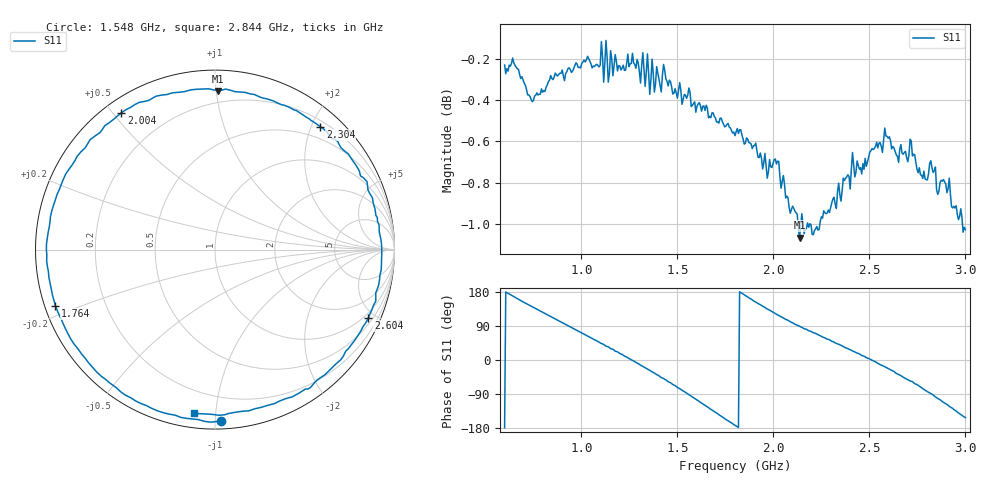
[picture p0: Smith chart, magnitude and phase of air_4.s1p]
! nanovna_capture.py 2026-10-18T19:32:49+0900
! NanoVNA-F_V2 fw 0.6.0 SN 4A3639384505514B
! cal: load open short cal'ed  over 600000000-3000000000 Hz, 201 points
! points 401, avg 4
! free air, >=10 cm, capture 4 (drift check after ref_A_4)
# HZ S RI R 50
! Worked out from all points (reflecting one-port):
!   401 points, 600 MHz to 3 GHz, reference 50 ohm
!   lowest |S11| = -1.1 dB at 2.136 GHz (marker M1), VSWR 16.30, Z = 6.21 + j50.4 ohm
!   phase of S11 starts at -179 deg and turns -693 deg over the sweep
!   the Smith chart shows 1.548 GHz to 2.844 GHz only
!   S11 on the Smith chart (normalised r, x): 1.548 GHz: 0.05, -1.04; 1.764 GHz: 0.03, -0.17; 2.004 GHz: 0.05, +0.53; 2.304 GHz: 0.29, +2.14; 2.604 GHz: 0.75, -4.58; 2.844 GHz: 0.07, -0.88
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6e8  -0.9739 -0.0179
6.6e8  -0.9335 0.2742
7.44e8  -0.7378 0.6053
9e8  -0.1436 0.9607
1.038e9  0.4657 0.8595
1.116e9  0.728 0.6331
1.2e9  0.9301 0.2873
1.266e9  0.9803 -0.018
1.332e9  0.9015 -0.337
1.434e9  0.6114 -0.7544
1.5e9  0.292 -0.9105
1.548e9  0.0342 -0.9555
1.644e9  -0.47 -0.8251
1.764e9  -0.8888 -0.3143
1.8e9  -0.9282 -0.1226
1.896e9  -0.8514 0.3767
2.004e9  -0.5223 0.762
2.1e9  -0.13 0.8906
2.136e9  0.0146 0.8843
2.304e9  0.5869 0.6845
2.4e9  0.8104 0.4112
2.514e9  0.9295 -0.0155
2.604e9  0.8545 -0.3814
2.7e9  0.5706 -0.7252
2.778e9  0.2221 -0.8868
2.844e9  -0.1162 -0.9126
2.91e9  -0.446 -0.7921
3e9  -0.7862 -0.4136
